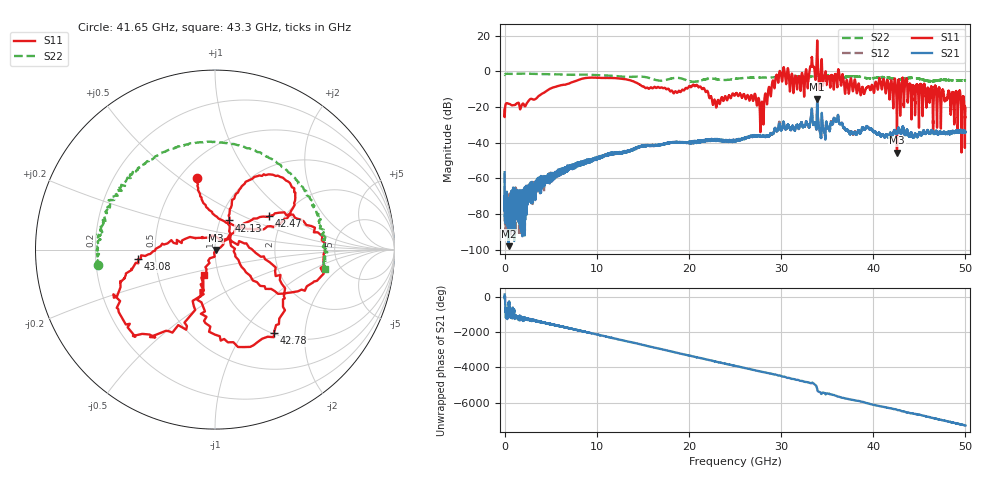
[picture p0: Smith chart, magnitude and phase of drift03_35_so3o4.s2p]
!Created with skrf (http://scikit-rf.org).
# Hz S RI R 50.0
!freq ReS11 ImS11 ReS21 ImS21 ReS12 ImS12 ReS22 ImS22
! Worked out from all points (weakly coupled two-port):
!   10001 points, 300 kHz to 50 GHz, reference 50 ohm
!   highest |S21| = -15.67 dB at 33.92 GHz (marker M1); lowest = -97.9 dB at 445.3 MHz (marker M2)
!   lowest |S11| = -45.6 dB at 42.58 GHz (marker M3), VSWR 1.01, Z = 50.4 - j0.273 ohm
!   |S11| at or under -10 dB: start of sweep to 4.851 GHz; 21.69 GHz to 28.62 GHz (6.933 GHz wide, 27.6 % of centre); 47.19 GHz to end of sweep (the widest 3 of 41)
!   |S22| runs from -5.9 to -1.3 dB; largest |S21 - S12| = 0.02
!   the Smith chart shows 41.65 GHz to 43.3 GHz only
!   S11 on the Smith chart (normalised r, x): 41.65 GHz: 0.61, +0.58; 42.13 GHz: 1.10, +0.37; 42.47 GHz: 1.67, +0.71; 42.78 GHz: 1.01, -1.39; 43.08 GHz: 0.40, -0.05; 43.3 GHz: 0.86, -0.25
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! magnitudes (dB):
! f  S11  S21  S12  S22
! 300 kHz  -21.4  -56.5  -57.4  -2.1
! 445.3 MHz  -18.2  -97.9  -70.9  -1.5
! 8.335 GHz  -4.3  -51.7  -51.2  -1.9
! 16.67 GHz  -8.8  -41.3  -41.3  -5.2
! 21.01 GHz  -8.7  -39.2  -39.2  -5.5
! 22.81 GHz  -16.1  -38.3  -38.5  -4.2
! 25 GHz  -13.4  -39.1  -38.8  -4.3
! 27.91 GHz  -17.2  -36.3  -36.4  -3.5
! 29.69 GHz  -6.4  -32.4  -31.4  -3.1
! 32.32 GHz  -1.5  -30.4  -30.7  -3.2
! 33.34 GHz  7.6  -20.9  -21.1  -2.9
! 33.92 GHz  17.2  -15.7  -16.1  -2.5
! 38.82 GHz  -8.9  -31.4  -31.8  -3.4
! 41.65 GHz  -7.7  -36.9  -36.8  -3.7
! 41.67 GHz  -9.0  -37.0  -36.5  -3.7
! 42.13 GHz  -14.9  -35.3  -35.5  -4.2
! 42.47 GHz  -9.0  -34.8  -34.6  -4.4
! 42.58 GHz  -45.6  -34.9  -34.8  -4.5
! 42.78 GHz  -4.9  -32.0  -32.4  -4.5
! 43.08 GHz  -7.3  -34.6  -34.3  -4.3
! 43.3 GHz  -16.3  -32.7  -33.1  -4.1
! 50 GHz  -20.5  -33.8  -34.0  -5.0
